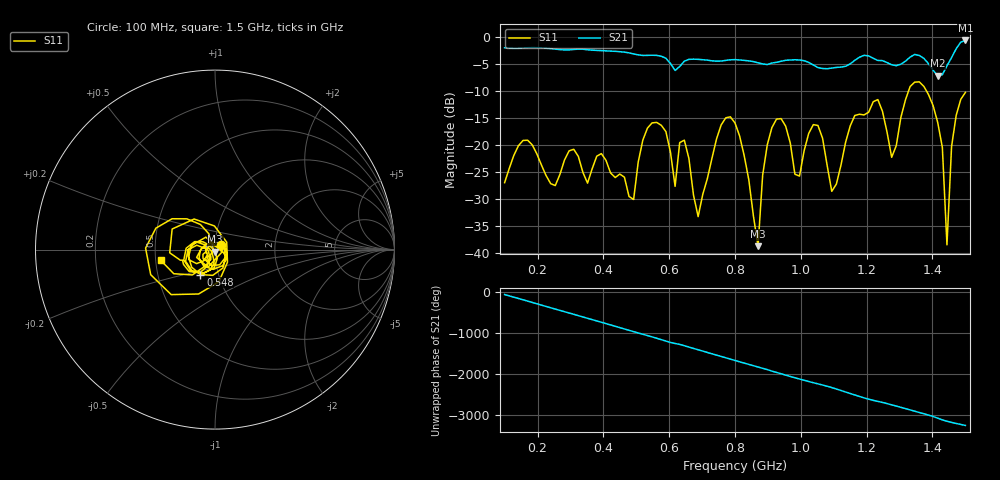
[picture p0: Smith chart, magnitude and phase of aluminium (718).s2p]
! NanoVNA-App
! Date: 2025-09-25 15:00:52
! Start: 100MHz Stop: 1,5GHz Points: 101
! S-Parameter data: F S11 S21 S12 S22
# Hz S RI R 50
!  Frequency  S11_Real  S11_Imag  S21_Real  S21_Imag  S12_Real  S12_Imag  S22_Real  S22_Imag
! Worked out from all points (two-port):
!   101 points, 100 MHz to 1.5 GHz, reference 50 ohm
!   highest |S21| = -0.57 dB at 1.5 GHz (marker M1); lowest = -7.1 dB at 1.416 GHz (marker M2)
!   |S21| within 3 dB of the highest: start of sweep to 578.6 MHz; 1.46 GHz to end of sweep (the widest 2 of 4)
!   lowest |S11| = -38.7 dB at 870 MHz (marker M3), VSWR 1.02, Z = 50.1 - j1.15 ohm
!   |S11| at or under -10 dB: start of sweep to 1.327 GHz; 1.382 GHz to end of sweep
!   S12 and S22 are empty: the file has one direction only
!   S11 on the Smith chart (normalised r, x): 100 MHz: 1.07, +0.06; 548 MHz: 0.82, -0.23; 1.5 GHz: 0.53, -0.07
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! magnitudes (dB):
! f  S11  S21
! 100 MHz  -27.0  -1.9
! 156 MHz  -19.1  -2.0
! 338 MHz  -25.1  -2.2
! 492 MHz  -30.1  -3.1
! 548 MHz  -15.9  -3.3
! 576 MHz  -16.3  -3.5
! 618 MHz  -27.6  -6.1
! 646 MHz  -19.1  -4.4
! 688 MHz  -33.3  -4.1
! 800 MHz  -15.9  -4.1
! 870 MHz  -38.7  -4.7
! 912 MHz  -16.8  -4.8
! 996 MHz  -25.7  -4.2
! 1.038 GHz  -16.2  -5.1
! 1.094 GHz  -28.6  -5.7
! 1.22 GHz  -11.9  -3.9
! 1.276 GHz  -22.2  -5.1
! 1.346 GHz  -8.3  -3.2
! 1.416 GHz  -15.8  -7.1
! 1.444 GHz  -38.5  -5.3
! 1.458 GHz  -20.2  -3.8
! 1.5 GHz  -10.2  -0.6
